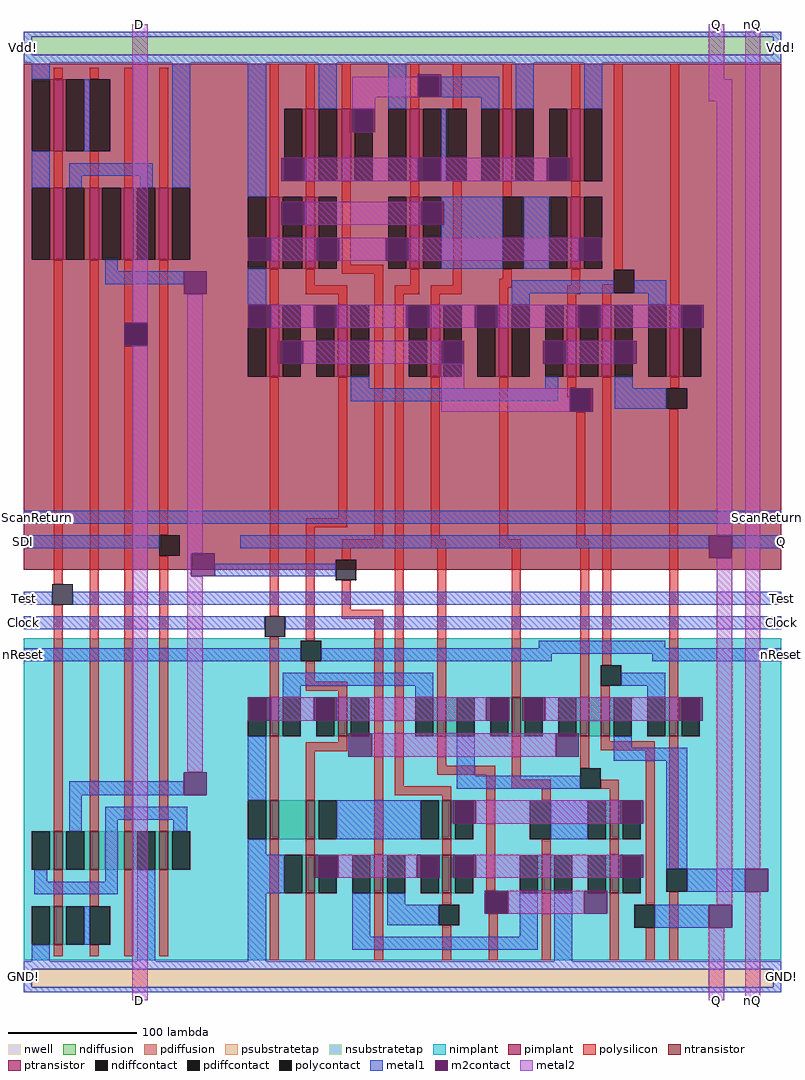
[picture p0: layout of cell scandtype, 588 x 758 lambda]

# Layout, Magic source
magic
tech c35b4
<< pimplant >>
rect 0 334 588 727
<< nimplant >>
rect 0 31 588 281
<< nwell >>
rect 0 334 588 752
<< polysilicon >>
rect 23 715 30 724
rect 51 715 58 724
rect 23 631 30 659
rect 51 631 58 659
rect 78 631 85 724
rect 105 631 112 724
rect 191 624 198 727
rect 219 692 226 727
rect 247 692 254 727
rect 300 717 307 727
rect 300 701 306 717
rect 300 692 307 701
rect 333 692 340 727
rect 372 692 379 727
rect 425 692 432 727
rect 219 624 226 636
rect 23 323 30 575
rect 23 131 30 307
rect 51 131 58 575
rect 78 526 85 575
rect 78 131 85 508
rect 105 361 112 575
rect 247 571 254 636
rect 300 624 307 636
rect 191 540 198 568
rect 219 555 226 568
rect 247 564 279 571
rect 219 548 251 555
rect 244 540 251 548
rect 105 131 112 345
rect 191 298 198 484
rect 244 374 251 484
rect 219 367 251 374
rect 191 235 198 282
rect 219 279 226 367
rect 272 358 279 564
rect 300 555 307 568
rect 333 555 340 636
rect 372 624 379 636
rect 425 624 432 636
rect 372 560 379 568
rect 247 351 279 358
rect 288 548 307 555
rect 316 548 340 555
rect 369 553 379 560
rect 425 555 432 568
rect 458 567 465 727
rect 247 342 254 351
rect 247 303 254 326
rect 247 296 279 303
rect 219 247 226 263
rect 219 240 251 247
rect 244 235 251 240
rect 191 155 198 205
rect 244 200 251 205
rect 219 193 251 200
rect 219 155 226 193
rect 23 73 30 101
rect 51 73 58 101
rect 23 34 30 43
rect 51 34 58 43
rect 78 34 85 101
rect 105 34 112 101
rect 191 31 198 125
rect 219 113 226 125
rect 272 113 279 296
rect 288 166 295 548
rect 316 540 323 548
rect 369 540 376 553
rect 422 548 432 555
rect 449 549 458 556
rect 422 540 429 548
rect 449 540 456 549
rect 502 540 509 727
rect 316 358 323 484
rect 369 358 376 484
rect 422 475 429 484
rect 422 468 424 475
rect 429 358 436 457
rect 316 351 328 358
rect 369 351 386 358
rect 429 351 439 358
rect 321 235 328 351
rect 379 235 386 351
rect 432 235 439 351
rect 449 260 456 484
rect 502 475 509 484
rect 448 235 455 244
rect 501 235 508 459
rect 321 182 328 205
rect 321 175 366 182
rect 288 159 332 166
rect 325 155 332 159
rect 325 113 332 125
rect 359 85 366 175
rect 379 171 386 205
rect 432 180 439 205
rect 448 201 455 205
rect 448 194 490 201
rect 379 164 409 171
rect 448 164 462 171
rect 402 155 409 164
rect 455 155 462 164
rect 402 113 409 125
rect 455 113 462 125
rect 219 31 226 83
rect 272 31 279 83
rect 325 74 332 83
rect 325 31 332 58
rect 361 31 368 67
rect 402 31 409 83
rect 455 31 462 83
rect 483 74 490 194
rect 501 102 508 205
rect 483 31 490 56
rect 501 31 508 84
<< ndiffusion >>
rect 188 205 191 235
rect 198 205 201 235
rect 241 205 244 235
rect 251 205 254 235
rect 20 101 23 131
rect 30 101 33 131
rect 47 101 51 131
rect 58 101 78 131
rect 85 101 88 131
rect 102 101 105 131
rect 112 101 115 131
rect 188 125 191 155
rect 198 125 219 155
rect 226 125 229 155
rect 20 43 23 73
rect 30 43 33 73
rect 318 205 321 235
rect 328 205 336 235
rect 376 205 379 235
rect 386 205 389 235
rect 429 205 432 235
rect 439 205 448 235
rect 455 205 458 235
rect 498 205 501 235
rect 508 205 511 235
rect 322 125 325 155
rect 332 125 335 155
rect 216 83 219 113
rect 226 83 229 113
rect 269 83 272 113
rect 279 83 282 113
rect 322 83 325 113
rect 332 83 335 113
rect 452 125 455 155
rect 462 125 465 155
rect 399 83 402 113
rect 409 83 412 113
rect 452 83 455 113
rect 462 83 465 113
<< pdiffusion >>
rect 20 659 23 715
rect 30 659 33 715
rect 20 575 23 631
rect 30 575 33 631
rect 47 575 51 631
rect 58 575 61 631
rect 75 575 78 631
rect 85 575 88 631
rect 102 575 105 631
rect 112 575 115 631
rect 216 636 219 692
rect 226 636 229 692
rect 243 636 247 692
rect 254 636 257 692
rect 297 636 300 692
rect 307 636 310 692
rect 369 636 372 692
rect 379 636 382 692
rect 422 636 425 692
rect 432 636 435 692
rect 188 568 191 624
rect 198 568 201 624
rect 216 568 219 624
rect 226 568 229 624
rect 297 568 300 624
rect 307 568 310 624
rect 188 484 191 540
rect 198 484 201 540
rect 241 484 244 540
rect 251 484 254 540
rect 422 568 425 624
rect 432 568 435 624
rect 313 484 316 540
rect 323 484 326 540
rect 366 484 369 540
rect 376 484 379 540
rect 419 484 422 540
rect 429 484 432 540
rect 446 484 449 540
rect 456 484 459 540
rect 499 484 502 540
rect 509 484 512 540
<< ntransistor >>
rect 191 205 198 235
rect 244 205 251 235
rect 23 101 30 131
rect 51 101 58 131
rect 78 101 85 131
rect 105 101 112 131
rect 191 125 198 155
rect 219 125 226 155
rect 23 43 30 73
rect 321 205 328 235
rect 379 205 386 235
rect 432 205 439 235
rect 448 205 455 235
rect 501 205 508 235
rect 325 125 332 155
rect 219 83 226 113
rect 272 83 279 113
rect 325 83 332 113
rect 455 125 462 155
rect 402 83 409 113
rect 455 83 462 113
<< ptransistor >>
rect 23 659 30 715
rect 23 575 30 631
rect 51 575 58 631
rect 78 575 85 631
rect 105 575 112 631
rect 219 636 226 692
rect 247 636 254 692
rect 300 636 307 692
rect 372 636 379 692
rect 425 636 432 692
rect 191 568 198 624
rect 219 568 226 624
rect 300 568 307 624
rect 191 484 198 540
rect 244 484 251 540
rect 425 568 432 624
rect 316 484 323 540
rect 369 484 376 540
rect 422 484 429 540
rect 449 484 456 540
rect 502 484 509 540
<< polycontact >>
rect 51 659 67 715
rect 306 701 322 717
rect 328 636 344 692
rect 22 307 38 323
rect 78 508 96 526
rect 105 345 121 361
rect 187 282 203 298
rect 372 568 388 624
rect 242 326 258 342
rect 215 263 231 279
rect 51 43 67 73
rect 458 549 474 567
rect 424 457 440 475
rect 499 459 515 475
rect 448 244 464 260
rect 432 164 448 180
rect 393 125 409 155
rect 322 58 338 74
rect 359 67 375 85
rect 499 84 515 102
rect 474 56 490 74
<< ndiffcontact >>
rect 174 205 188 235
rect 201 205 215 235
rect 227 205 241 235
rect 254 205 268 235
rect 6 101 20 131
rect 33 101 47 131
rect 88 101 102 131
rect 115 101 129 131
rect 174 125 188 155
rect 229 125 243 155
rect 6 43 20 73
rect 33 43 47 73
rect 304 205 318 235
rect 336 205 350 235
rect 362 205 376 235
rect 389 205 403 235
rect 415 205 429 235
rect 458 205 472 235
rect 484 205 498 235
rect 511 205 525 235
rect 308 125 322 155
rect 335 125 349 155
rect 202 83 216 113
rect 229 83 243 113
rect 255 83 269 113
rect 282 83 296 113
rect 308 83 322 113
rect 335 83 349 113
rect 438 125 452 155
rect 465 125 479 155
rect 385 83 399 113
rect 412 83 426 113
rect 438 83 452 113
rect 465 83 479 113
<< pdiffcontact >>
rect 6 659 20 715
rect 33 659 47 715
rect 6 575 20 631
rect 33 575 47 631
rect 61 575 75 631
rect 88 575 102 631
rect 115 575 129 631
rect 202 636 216 692
rect 229 636 243 692
rect 257 636 271 692
rect 283 636 297 692
rect 310 636 324 692
rect 355 636 369 692
rect 382 636 396 692
rect 408 636 422 692
rect 435 636 449 692
rect 174 568 188 624
rect 201 568 216 624
rect 229 568 243 624
rect 283 568 297 624
rect 310 568 324 624
rect 174 484 188 540
rect 201 484 215 540
rect 227 484 241 540
rect 254 484 268 540
rect 408 568 422 624
rect 435 568 449 624
rect 299 484 313 540
rect 326 484 340 540
rect 352 484 366 540
rect 379 484 393 540
rect 405 484 419 540
rect 432 484 446 540
rect 459 484 473 540
rect 485 484 499 540
rect 512 484 526 540
<< psubstratetap >>
rect 6 10 582 24
<< nsubstratetap >>
rect 6 734 582 748
<< metal1 >>
rect 0 748 588 752
rect 0 734 6 748
rect 582 734 588 748
rect 0 728 588 734
rect 6 715 20 728
rect 47 659 51 715
rect 6 631 20 659
rect 35 640 100 650
rect 35 631 45 640
rect 90 631 100 640
rect 115 631 129 728
rect 174 624 188 728
rect 229 692 243 728
rect 283 692 297 728
rect 324 701 369 717
rect 355 692 369 701
rect 324 636 328 692
rect 382 692 396 728
rect 435 692 449 728
rect 63 566 73 575
rect 324 620 372 624
rect 326 602 372 620
rect 324 568 372 602
rect 388 568 408 624
rect 63 556 124 566
rect 174 540 188 568
rect 379 549 458 559
rect 474 549 499 559
rect 379 540 393 549
rect 485 540 499 549
rect 254 475 268 484
rect 405 475 415 484
rect 459 475 473 484
rect 254 465 415 475
rect 459 459 499 475
rect 0 370 588 380
rect 0 351 105 361
rect 168 351 532 361
rect 550 351 588 361
rect 148 329 242 339
rect 0 307 22 317
rect 38 307 588 317
rect 0 288 187 298
rect 203 288 588 298
rect 0 263 215 273
rect 400 273 498 279
rect 231 269 588 273
rect 231 263 410 269
rect 488 263 588 269
rect 201 244 318 254
rect 464 244 498 254
rect 201 235 215 244
rect 304 235 318 244
rect 484 235 498 244
rect 35 159 124 170
rect 35 131 45 159
rect 174 155 188 205
rect 336 174 350 205
rect 458 196 472 205
rect 458 186 515 196
rect 336 164 432 174
rect 63 140 127 150
rect 8 92 18 101
rect 63 92 73 140
rect 116 131 127 140
rect 8 82 73 92
rect 243 125 308 155
rect 409 125 438 155
rect 174 113 188 125
rect 47 43 51 73
rect 6 30 20 43
rect 88 30 102 101
rect 174 83 202 113
rect 174 30 188 83
rect 255 49 269 83
rect 282 74 296 83
rect 282 58 322 74
rect 385 49 399 83
rect 255 39 399 49
rect 499 102 515 186
rect 412 30 426 83
rect 515 84 560 102
rect 490 56 532 74
rect 0 24 588 30
rect 0 10 6 24
rect 582 10 588 24
rect 0 6 588 10
<< m2contact >>
rect 306 717 324 719
rect 306 701 322 717
rect 322 701 324 717
rect 200 636 202 654
rect 202 636 216 654
rect 216 636 218 654
rect 255 674 257 692
rect 257 674 271 692
rect 271 674 273 692
rect 306 636 310 654
rect 310 636 324 654
rect 406 636 408 654
rect 408 636 422 654
rect 422 636 424 654
rect 200 602 201 620
rect 201 602 216 620
rect 216 602 218 620
rect 174 574 188 592
rect 188 574 192 592
rect 308 602 310 620
rect 310 602 324 620
rect 324 602 326 620
rect 227 574 229 592
rect 229 574 243 592
rect 243 574 245 592
rect 281 574 283 592
rect 283 574 297 592
rect 297 574 299 592
rect 431 574 435 592
rect 435 574 449 592
rect 124 548 142 566
rect 78 508 96 526
rect 174 522 188 540
rect 188 522 192 540
rect 225 522 227 540
rect 227 522 241 540
rect 241 522 243 540
rect 199 494 201 512
rect 201 494 215 512
rect 215 494 217 512
rect 297 522 299 540
rect 299 522 313 540
rect 313 522 315 540
rect 350 522 352 540
rect 352 522 366 540
rect 366 522 368 540
rect 324 494 326 512
rect 326 494 340 512
rect 340 494 342 512
rect 430 522 432 540
rect 432 522 446 540
rect 446 522 448 540
rect 403 494 405 512
rect 405 494 419 512
rect 419 494 421 512
rect 458 494 459 512
rect 459 494 473 512
rect 473 494 476 512
rect 510 522 512 540
rect 512 522 526 540
rect 526 522 528 540
rect 424 457 440 475
rect 440 457 442 475
rect 130 329 148 347
rect 532 343 550 361
rect 174 217 188 235
rect 188 217 192 235
rect 225 217 227 235
rect 227 217 241 235
rect 241 217 243 235
rect 252 205 254 207
rect 254 205 268 207
rect 268 205 270 207
rect 359 217 362 235
rect 362 217 376 235
rect 376 217 377 235
rect 387 217 389 235
rect 389 217 403 235
rect 403 217 405 235
rect 413 205 415 207
rect 415 205 429 207
rect 429 205 431 207
rect 124 159 142 177
rect 252 189 270 205
rect 413 189 431 205
rect 509 217 511 235
rect 511 217 525 235
rect 525 217 527 235
rect 333 137 335 155
rect 335 137 349 155
rect 349 137 351 155
rect 463 137 465 155
rect 465 137 479 155
rect 479 137 481 155
rect 226 95 229 113
rect 229 95 243 113
rect 243 95 244 113
rect 305 95 308 113
rect 308 95 322 113
rect 322 95 323 113
rect 333 95 335 113
rect 335 95 349 113
rect 349 95 351 113
rect 358 67 359 85
rect 359 67 375 85
rect 375 67 376 85
rect 463 95 465 113
rect 465 95 479 113
rect 479 95 481 113
rect 435 83 438 85
rect 438 83 452 85
rect 452 83 453 85
rect 560 84 578 102
rect 435 67 453 83
rect 532 56 550 74
<< metal2 >>
rect 84 526 96 758
rect 255 701 306 717
rect 532 715 544 758
rect 255 692 273 701
rect 532 698 550 715
rect 218 636 306 654
rect 324 636 406 654
rect 218 602 308 620
rect 192 574 227 592
rect 245 574 281 592
rect 299 574 431 592
rect 84 0 96 508
rect 127 347 139 548
rect 192 522 225 540
rect 243 522 297 540
rect 315 522 350 540
rect 368 522 430 540
rect 448 522 510 540
rect 217 494 324 512
rect 421 494 458 512
rect 324 475 342 494
rect 324 457 424 475
rect 538 361 550 698
rect 127 329 130 347
rect 127 177 139 329
rect 192 217 225 235
rect 243 217 359 235
rect 405 217 509 235
rect 270 189 413 207
rect 351 137 463 155
rect 244 95 305 113
rect 351 95 463 113
rect 376 67 435 85
rect 538 74 550 343
rect 560 102 572 758
rect 532 0 544 56
rect 560 0 572 84
<< labels >>
rlabel metal1 0 6 0 30 3 GND!
rlabel metal2 84 0 96 0 1 D
rlabel metal2 532 0 544 0 1 Q
rlabel metal2 560 0 572 0 1 nQ
rlabel metal1 588 263 588 273 7 nReset
rlabel metal1 588 288 588 298 7 Clock
rlabel metal1 588 307 588 317 7 Test
rlabel metal1 588 351 588 361 7 Q
rlabel metal1 588 370 588 380 7 ScanReturn
rlabel metal1 588 728 588 752 7 Vdd!
rlabel metal2 560 758 572 758 5 nQ
rlabel metal2 532 758 544 758 5 Q
rlabel metal1 0 263 0 273 3 nReset
rlabel metal1 0 288 0 298 3 Clock
rlabel metal1 0 307 0 317 3 Test
rlabel metal1 0 351 0 361 3 SDI
rlabel metal1 0 370 0 380 3 ScanReturn
rlabel metal1 0 728 0 752 3 Vdd!
rlabel metal2 84 758 96 758 5 D
rlabel metal1 588 6 588 30 7 GND!
<< end >>
